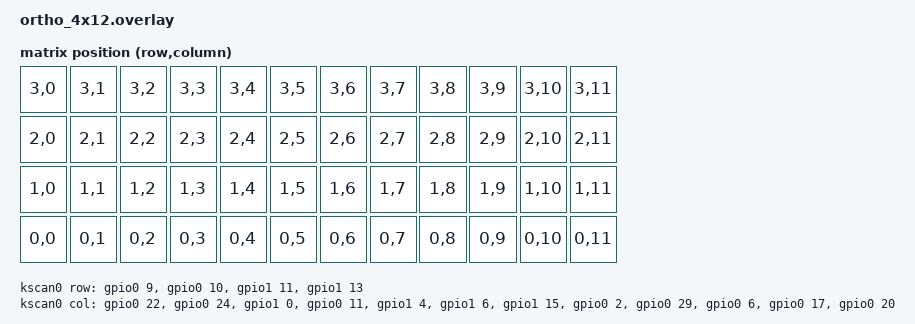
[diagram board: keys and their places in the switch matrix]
/*
 * Ortho 4x12 — Monoblock single-controller overlay
 *
 * One nice!nano v2 driving a 4-row × 12-column matrix.
 * 48 keys total, no thumb cluster.
 * Diode direction: row2col
 *
 * Physical layout:
 *   ┌────┬────┬────┬────┬────┬────┬────┬────┬────┬────┬────┬────┐
 *   │ C0 │ C1 │ C2 │ C3 │ C4 │ C5 │ C6 │ C7 │ C8 │ C9 │C10 │C11 │  R3 (top)
 *   ├────┼────┼────┼────┼────┼────┼────┼────┼────┼────┼────┼────┤
 *   │    │    │    │    │    │    │    │    │    │    │    │    │  R2
 *   ├────┼────┼────┼────┼────┼────┼────┼────┼────┼────┼────┼────┤
 *   │    │    │    │    │    │    │    │    │    │    │    │    │  R1
 *   ├────┼────┼────┼────┼────┼────┼────┼────┼────┼────┼────┼────┤
 *   │    │    │    │    │    │    │    │    │    │    │    │    │  R0 (bottom)
 *   └────┴────┴────┴────┴────┴────┴────┴────┴────┴────┴────┴────┘
 *
 * Row pins (bottom → top):
 *   R0: P0.09   R1: P0.10   R2: P1.11   R3: P1.13
 *
 * Col pins (left → right):
 *   C0:  P0.22   C1:  P0.24   C2:  P1.00   C3:  P0.11
 *   C4:  P1.04   C5:  P1.06   C6:  P1.15   C7:  P0.02
 *   C8:  P0.29   C9:  P0.06   C10: P0.17   C11: P0.20
 *
 * IMPORTANT: Adjust all pin assignments to match your actual wiring.
 */

#include <dt-bindings/zmk/matrix_transform.h>

/ {
    chosen {
        zmk,kscan = &kscan0;
        zmk,matrix_transform = &default_transform;
    };

    default_transform: keymap_transform_0 {
        compatible = "zmk,matrix-transform";
        rows = <4>;
        columns = <12>;

        map = <
/* Row 3 — top row */
RC(3,0)  RC(3,1)  RC(3,2)  RC(3,3)  RC(3,4)  RC(3,5)  RC(3,6)  RC(3,7)  RC(3,8)  RC(3,9)  RC(3,10) RC(3,11)
/* Row 2 */
RC(2,0)  RC(2,1)  RC(2,2)  RC(2,3)  RC(2,4)  RC(2,5)  RC(2,6)  RC(2,7)  RC(2,8)  RC(2,9)  RC(2,10) RC(2,11)
/* Row 1 */
RC(1,0)  RC(1,1)  RC(1,2)  RC(1,3)  RC(1,4)  RC(1,5)  RC(1,6)  RC(1,7)  RC(1,8)  RC(1,9)  RC(1,10) RC(1,11)
/* Row 0 — bottom row */
RC(0,0)  RC(0,1)  RC(0,2)  RC(0,3)  RC(0,4)  RC(0,5)  RC(0,6)  RC(0,7)  RC(0,8)  RC(0,9)  RC(0,10) RC(0,11)
        >;
    };

    kscan0: kscan {
        compatible = "zmk,kscan-gpio-matrix";
        diode-direction = "row2col";
        wakeup-source;

        row-gpios
            = <&gpio0 9  GPIO_ACTIVE_HIGH>   /* R0 — bottom row */
            , <&gpio0 10 GPIO_ACTIVE_HIGH>   /* R1 */
            , <&gpio1 11 GPIO_ACTIVE_HIGH>   /* R2 */
            , <&gpio1 13 GPIO_ACTIVE_HIGH>   /* R3 — top row */
            ;

        col-gpios
            = <&gpio0 22 (GPIO_ACTIVE_HIGH | GPIO_PULL_DOWN)>   /* C0  — leftmost  */
            , <&gpio0 24 (GPIO_ACTIVE_HIGH | GPIO_PULL_DOWN)>   /* C1  */
            , <&gpio1 0  (GPIO_ACTIVE_HIGH | GPIO_PULL_DOWN)>   /* C2  */
            , <&gpio0 11 (GPIO_ACTIVE_HIGH | GPIO_PULL_DOWN)>   /* C3  */
            , <&gpio1 4  (GPIO_ACTIVE_HIGH | GPIO_PULL_DOWN)>   /* C4  */
            , <&gpio1 6  (GPIO_ACTIVE_HIGH | GPIO_PULL_DOWN)>   /* C5  */
            , <&gpio1 15 (GPIO_ACTIVE_HIGH | GPIO_PULL_DOWN)>   /* C6  */
            , <&gpio0 2  (GPIO_ACTIVE_HIGH | GPIO_PULL_DOWN)>   /* C7  */
            , <&gpio0 29 (GPIO_ACTIVE_HIGH | GPIO_PULL_DOWN)>   /* C8  */
            , <&gpio0 6  (GPIO_ACTIVE_HIGH | GPIO_PULL_DOWN)>   /* C9  */
            , <&gpio0 17 (GPIO_ACTIVE_HIGH | GPIO_PULL_DOWN)>   /* C10 */
            , <&gpio0 20 (GPIO_ACTIVE_HIGH | GPIO_PULL_DOWN)>   /* C11 — rightmost */
            ;
    };
};
